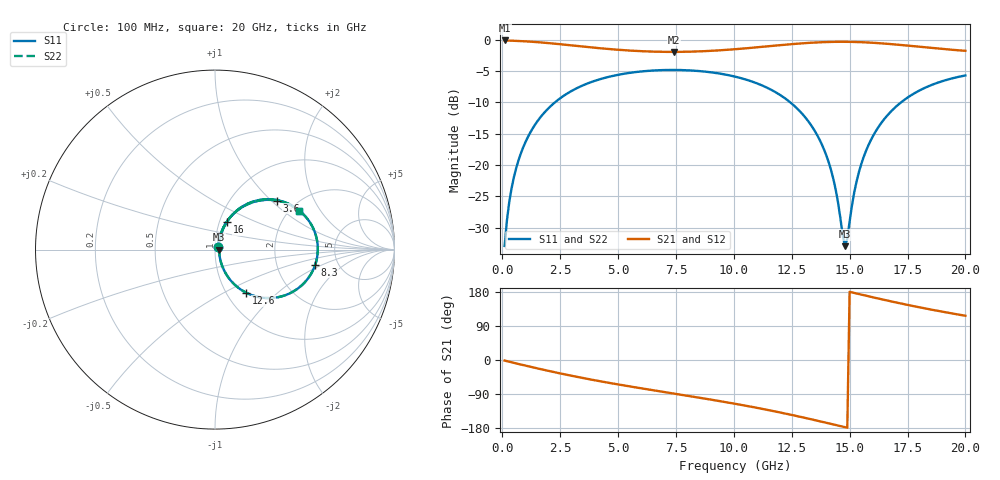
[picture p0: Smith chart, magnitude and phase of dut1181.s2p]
! Touchstone file exported from HFSS 2026.1.0
!  File:  C:/ffzhzh/LocalFiles/Ansys_Project_Files/temp_train_TSV_RDL_1181_1783315750_38704.aedt
!  Generated:  01:43:06 PM Jul  6, 2026
!  Design:  TSV_RDL
!  Project:  temp_train_TSV_RDL_1181_1783315750_38704
! Variables:
!  h_bsmrdl = 5.81um
!  h_ox = 20um
!  h_rdl = 5um
!  h_sub = 67.08um
!  h_tmrdl = 3.3um
!  h_tsv = 67.08um
!  h_via = 3um
!  l_bsmrdl = 489.36um
!  l_sub = 4201.62um
!  l_tmrdl = 547.85um
!  m_sub = 200um
!  pitch = 57.21um
!  r_tsv = 6.84um
!  s_tmrdl = 10um
!  w_bsmrdl = 23.12um
!  w_sub = 500um
!  w_tmrdl = 24.26um
!  x_tsv_center1 = 559.98um
!  x_tsv_center2 = 1072.46um
!  x_tsv_center3 = 1644.57um
!  x_tsv_center4 = 2157.05um
!  x_tsv_center5 = 2729.16um
!  x_tsv_center6 = 3241.64um
# GHz S MA R 50.000000
! Terminal data exported
! Port[1] = TM_RDL1_1_T1
! Port[2] = TM_RDL5_1_T1
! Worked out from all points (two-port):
!   200 points, 100 MHz to 20 GHz, reference 50 ohm
!   highest |S21| = -0.14 dB at 100 MHz (marker M1); lowest = -2.0 dB at 7.4 GHz (marker M2)
!   |S21| within 3 dB of the highest: start of sweep to end of sweep
!   lowest |S11| = -32.9 dB at 14.8 GHz (marker M3), VSWR 1.05, Z = 52.3 - j0.107 ohm
!   |S11| at or under -10 dB: start of sweep to 2.276 GHz; 12.43 GHz to 17.22 GHz (4.791 GHz wide, 32.3 % of centre)
!   |S22| runs from -33.0 to -4.8 dB; largest |S21 - S12| = 7.5e-14
!   S11 on the Smith chart (normalised r, x): 100 MHz: 1.03, +0.03; 3.6 GHz: 1.60, +1.09; 8.3 GHz: 3.38, -0.83; 12.6 GHz: 1.23, -0.65; 16 GHz: 1.08, +0.35; 20 GHz: 2.24, +1.32
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0.1  0.02264 44.9  0.9843 -1.6  0.9843 -1.6  0.02264 44.9
! Gamma 0 0 0 0
! Port Impedance 50 0 50 0
0.3  0.05058 65.8  0.9819 -4.6  0.9819 -4.6  0.05058 65.8
0.5  0.07979 69.6  0.9786 -7.6  0.9786 -7.6  0.07979 69.6
1.1  0.1664 67.2  0.9661 -16.2  0.9661 -16.2  0.1664 67.2
2.1  0.2961 55.9  0.9341 -30.1  0.9341 -30.1  0.2961 55.9
3.5  0.4331 39.4  0.8793 -47.8  0.8793 -47.8  0.4331 39.4
3.6  0.4409 38.3  0.8755 -48.9  0.8755 -48.9  0.4409 38.3
5.2  0.5321 21.3  0.8245 -66.6  0.8245 -66.6  0.5321 21.3
6.8  0.5703 5.8  0.7996 -82.6  0.7996 -82.6  0.5703 5.8
7.4  0.5729 0.1  0.7979 -88.5  0.7979 -88.5  0.5729 0.1
8.3  0.565 -8.5  0.803 -97.4  0.803 -97.4  0.565 -8.5
10.1  0.5042 -26.3  0.8393 -116.1  0.8393 -116.1  0.5042 -26.3
12.6  0.2977 -54.0  0.923 -146.3  0.923 -146.3  0.2977 -54.0
13.4  0.1994 -62.6  0.9453 -157.2  0.9453 -157.2  0.1995 -62.6
14.2  0.09083 -65.9  0.9583 -168.6  0.9583 -168.6  0.09085 -65.9
14.4  0.06347 -62.3  0.9598 -171.5  0.9598 -171.5  0.06349 -62.3
14.8  0.02254 -2.6  0.9603 -177.3  0.9603 -177.3  0.02251 -2.7
15.4  0.0876 68.0  0.9552 174.0  0.9552 174.0  0.08757 68.0
16  0.1689 66.9  0.9435 165.5  0.9435 165.5  0.1689 66.9
16.7  0.2571 60.1  0.9235 155.9  0.9235 155.9  0.2571 60.1
18.1  0.3999 44.5  0.8735 138.0  0.8735 138.0  0.3999 44.5
20  0.5176 24.7  0.8139 116.7  0.8139 116.7  0.5176 24.7
